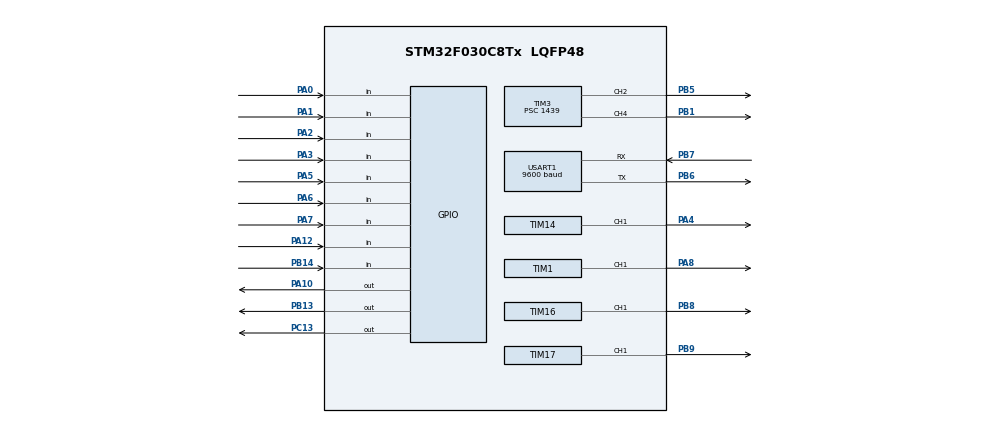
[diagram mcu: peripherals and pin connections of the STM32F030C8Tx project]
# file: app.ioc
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Mcu.Family=STM32F0
Mcu.Name=STM32F030C8Tx
Mcu.Package=LQFP48
NVIC.USART1_IRQn=true\:0\:0\:false\:false\:true\:true\:true\:true
PA0.Signal=GPIO_Input
PA1.Signal=GPIO_Input
PA10.GPIO_PuPd=GPIO_PULLUP
PA10.PinState=GPIO_PIN_SET
PA10.Signal=GPIO_Output
PA12.GPIO_PuPd=GPIO_PULLDOWN
PA12.Signal=GPIO_Input
PA13.Mode=Serial_Wire
PA13.Signal=SYS_SWDIO
PA14.Mode=Serial_Wire
PA14.Signal=SYS_SWCLK
PA2.Signal=GPIO_Input
PA3.Signal=GPIO_Input
PA4.Signal=S_TIM14_CH1
PA5.Signal=GPIO_Input
PA6.Signal=GPIO_Input
PA7.GPIO_PuPd=GPIO_PULLDOWN
PA7.Signal=GPIO_Input
PA8.Signal=S_TIM1_CH1
PB1.Signal=S_TIM3_CH4
PB13.Signal=GPIO_Output
PB14.GPIO_PuPd=GPIO_PULLDOWN
PB14.Signal=GPIO_Input
PB5.Signal=S_TIM3_CH2
PB6.Mode=Asynchronous
PB6.Signal=USART1_TX
PB7.Mode=Asynchronous
PB7.Signal=USART1_RX
PB8.Signal=S_TIM16_CH1
PB9.Signal=S_TIM17_CH1
PC13.GPIO_PuPd=GPIO_PULLDOWN
PC13.Signal=GPIO_Output
ProjectManager.HeapSize=0x200
ProjectManager.StackSize=0x400
ProjectManager.TargetToolchain=MDK-ARM V5.32
RCC.AHBFreq_Value=48000000
RCC.APB1Freq_Value=48000000
RCC.APB1TimFreq_Value=48000000
RCC.HCLKFreq_Value=48000000
RCC.PLLMUL=RCC_PLL_MUL12
RCC.SYSCLKFreq_VALUE=48000000
RCC.SYSCLKSource=RCC_SYSCLKSOURCE_PLLCLK
SH.S_TIM14_CH1.0=TIM14_CH1,PWM Generation1 CH1
SH.S_TIM16_CH1.0=TIM16_CH1,PWM Generation1 CH1
SH.S_TIM17_CH1.0=TIM17_CH1,PWM Generation1 CH1
SH.S_TIM1_CH1.0=TIM1_CH1,PWM Generation1 CH1
SH.S_TIM3_CH2.0=TIM3_CH2,PWM Generation2 CH2
SH.S_TIM3_CH4.0=TIM3_CH4,PWM Generation4 CH4
TIM1.Channel-PWM\ Generation1\ CH1=TIM_CHANNEL_1
TIM1.OCIdleState_1=TIM_OCIDLESTATE_SET
TIM1.OCPolarity_1=TIM_OCPOLARITY_LOW
TIM1.Period=1100
TIM1.Prescaler=1439
TIM14.Channel=TIM_CHANNEL_1
TIM14.OCPolarity_1=TIM_OCPOLARITY_HIGH
TIM14.Period=240
TIM14.Prescaler=1
TIM16.Channel=TIM_CHANNEL_1
TIM16.OCIdleState_1=TIM_OCIDLESTATE_RESET
TIM16.OCPolarity_1=TIM_OCPOLARITY_HIGH
TIM16.Period=240
TIM16.Prescaler=1
TIM17.Channel=TIM_CHANNEL_1
TIM17.OCIdleState_1=TIM_OCIDLESTATE_RESET
TIM17.OCPolarity_1=TIM_OCPOLARITY_HIGH
TIM17.Period=240
TIM17.Prescaler=1
TIM3.Channel-PWM\ Generation2\ CH2=TIM_CHANNEL_2
TIM3.Channel-PWM\ Generation4\ CH4=TIM_CHANNEL_4
TIM3.OCPolarity_2=TIM_OCPOLARITY_LOW
TIM3.OCPolarity_4=TIM_OCPOLARITY_LOW
TIM3.Period=1100
TIM3.Prescaler=1439
USART1.BaudRate=9600
USART1.DMADisableonRxErrorParam=ADVFEATURE_DMA_DISABLEONRXERROR
USART1.VirtualMode-Asynchronous=VM_ASYNC
VP_TIM14_VS_ClockSourceINT.Mode=Enable_Timer
VP_TIM16_VS_ClockSourceINT.Mode=Enable_Timer
VP_TIM17_VS_ClockSourceINT.Mode=Enable_Timer
VP_TIM1_VS_ClockSourceINT.Mode=Internal
VP_TIM3_VS_ClockSourceINT.Mode=Internal
board=custom

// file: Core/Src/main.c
/* USER CODE BEGIN Header */
/**
 ******************************************************************************
 * @file           : main.c
 * @brief          : Main program body
 ******************************************************************************
 * @attention
 *
 * Copyright (c) 2024 STMicroelectronics.
 * All rights reserved.
 *
 * This software is licensed under terms that can be found in the LICENSE file
 * in the root directory of this software component.
 * If no LICENSE file comes with this software, it is provided AS-IS.
 *
 ******************************************************************************
 */
/* USER CODE END Header */
#include "main.h"
#include "tim.h"
#include "usart.h"
#include "gpio.h"

/* USER CODE BEGIN Includes */
#include "systime.h"
#include "cl_log.h"
#include "cl_event_system.h"
#include "buzzer.h"
#include "comm.h"
#include "board.h"
#include "flash_layout.h"
#include "led.h"
#include "heater.h"
#include "channel.h"
/* USER CODE END Includes */

void SystemClock_Config(void);

/* USER CODE BEGIN 0 */

CL_Result_t EraseFlash(uint32_t addr, uint32_t pages)
{
  FLASH_EraseInitTypeDef EraseInitStruct;
  EraseInitStruct.TypeErase = FLASH_TYPEERASE_PAGES;
  EraseInitStruct.PageAddress = addr;
  EraseInitStruct.NbPages = pages;

  uint32_t PAGEError = 0;
  if (HAL_FLASHEx_Erase(&EraseInitStruct, &PAGEError) != HAL_OK)
    return CL_ResFailed;

  return CL_ResSuccess;
}

CL_Result_t WriteFlash(uint32_t addr, const uint8_t *buff, uint32_t length)
{
  uint32_t writeAddr, offset;
  uint32_t data;
  HAL_StatusTypeDef status;

  /* Clear All pending flags */
  // __HAL_FLASH_CLEAR_FLAG(FLASH_FLAG_OPTVERR | FLASH_FLAG_PROGERR);

  // little endian [0-0][0-1][0-2][0-3][1-0][1-1][1-2][1-3] -> 3210
  offset = 0;
  writeAddr = addr;
  while (offset < length)
  {
    data = 0;
    for (int i = 0; i < 4; i++)
    {
      if (offset < length)
        data |= (uint32_t)buff[offset++] << (i * 8);
      else
        break;
    }
    status = HAL_FLASH_Program(FLASH_TYPEPROGRAM_WORD, writeAddr, data);
    if (status != HAL_OK)
      return CL_ResFailed;

    writeAddr += 4;
  }
  return CL_ResSuccess;
}

void MarkNeedDfu(void)
{
  HAL_FLASH_Unlock();
  EraseFlash(DFU_FLAG_ADDR, 1);

  uint32_t mark[2] = {0x12345678, 0x87654321};
  WriteFlash(DFU_FLAG_ADDR, (const uint8_t *)mark, sizeof(mark));
  HAL_FLASH_Lock();
}

typedef void (*pFunction)(void);
pFunction JumpToAddrFunc;
void JumpToBootloader(void)
{
  uint32_t JumpAddress; // 跳转地址

  JumpAddress = *(volatile uint32_t *)(FLASH_START_ADDR + 4); // 获取复位地址
  JumpToAddrFunc = (pFunction)JumpAddress;                    // 函数指针指向复位地址
  __set_MSP(*(volatile uint32_t *)FLASH_START_ADDR);          // 设置主堆栈指针MSP指向升级机制IAP_ADDR
  JumpToAddrFunc();                                           // 跳转到升级代码处
}

/* USER CODE END 0 */

int main(void)
{

  /* USER CODE BEGIN 1 */
  volatile uint32_t *pVector = (volatile uint32_t *)0x20000000;
  for (uint32_t i = 0; i < 50; i++)
  {
    pVector[i] = ((volatile uint32_t *)APP_START_ADDR)[i];
  }
  LL_SYSCFG_SetRemapMemory(LL_SYSCFG_REMAP_SRAM);

  CL_EventSysInit();
  /* USER CODE END 1 */

  /* MCU Configuration--------------------------------------------------------*/

  /* Reset of all peripherals, Initializes the Flash interface and the Systick. */
  HAL_Init();

  /* Configure the system clock */
  SystemClock_Config();

  /* Initialize all configured peripherals */
  MX_GPIO_Init();
  MX_TIM14_Init();
  MX_USART1_UART_Init();
  MX_TIM16_Init();
  MX_TIM17_Init();
  MX_TIM1_Init();
  MX_TIM3_Init();
  /* USER CODE BEGIN 2 */
  Pwm_SetCompare(PwmChan_Chan1Amp, 0);
  HAL_TIM_PWM_Start(&htim14, TIM_CHANNEL_1);

  Pwm_SetCompare(PwmChan_Chan1Freq, 0);
  HAL_TIM_PWM_Start(&htim3, TIM_CHANNEL_4);

  Pwm_SetCompare(PwmChan_Chan2Amp, 0);
  HAL_TIM_PWM_Start(&htim17, TIM_CHANNEL_1);

  Pwm_SetCompare(PwmChan_Chan2Freq, 0);
  HAL_TIM_PWM_Start(&htim1, TIM_CHANNEL_1);

  Pwm_SetCompare(PwmChan_Chan3Amp, 0);
  HAL_TIM_PWM_Start(&htim16, TIM_CHANNEL_1);

  Pwm_SetCompare(PwmChan_Chan3Freq, 0);
  HAL_TIM_PWM_Start(&htim3, TIM_CHANNEL_2);

  /* USER CODE END 2 */

  /* Infinite loop */
  /* USER CODE BEGIN WHILE */
  Buzzer_Init();
  Comm_Init();
  Led_Init();
  Heater_Init();
  Channel_Init();
  while (1)
  {
    Buzzer_Process();
    Comm_Process();
    Led_Process();
    Heater_Process();
    Channel_Process();
    /* USER CODE END WHILE */

    /* USER CODE BEGIN 3 */
    static uint32_t lastTime = 0;
    if (SysTimeSpan(lastTime) >= 1000)
    {
      lastTime = GetSysTime();
    }

  }
  /* USER CODE END 3 */
}

void SystemClock_Config(void)
{
  LL_FLASH_SetLatency(LL_FLASH_LATENCY_1);
  while(LL_FLASH_GetLatency() != LL_FLASH_LATENCY_1)
  {
  }
  LL_RCC_HSI_Enable();

   /* Wait till HSI is ready */
  while(LL_RCC_HSI_IsReady() != 1)
  {

  }
  LL_RCC_HSI_SetCalibTrimming(16);
  LL_RCC_PLL_ConfigDomain_SYS(LL_RCC_PLLSOURCE_HSI_DIV_2, LL_RCC_PLL_MUL_12);
  LL_RCC_PLL_Enable();

   /* Wait till PLL is ready */
  while(LL_RCC_PLL_IsReady() != 1)
  {

  }
  LL_RCC_SetAHBPrescaler(LL_RCC_SYSCLK_DIV_1);
  LL_RCC_SetAPB1Prescaler(LL_RCC_APB1_DIV_1);
  LL_RCC_SetSysClkSource(LL_RCC_SYS_CLKSOURCE_PLL);

   /* Wait till System clock is ready */
  while(LL_RCC_GetSysClkSource() != LL_RCC_SYS_CLKSOURCE_STATUS_PLL)
  {

  }
  LL_SetSystemCoreClock(48000000);

   /* Update the time base */
  if (HAL_InitTick (TICK_INT_PRIORITY) != HAL_OK)
  {
    Error_Handler();
  }
  LL_RCC_SetUSARTClockSource(LL_RCC_USART1_CLKSOURCE_PCLK1);
}

void Error_Handler(void)
{
  __disable_irq();
  while (1)
  {
  }
}
